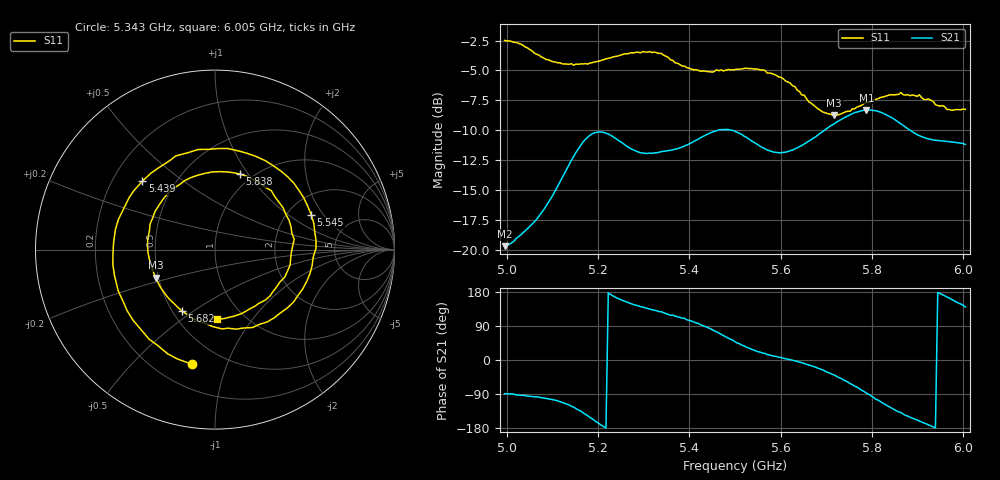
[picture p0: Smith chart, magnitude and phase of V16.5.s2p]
!File created by NanoVNA
# Hz S RI R 50
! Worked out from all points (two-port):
!   201 points, 4.995 GHz to 6.005 GHz, reference 50 ohm
!   highest |S21| = -8.30 dB at 5.788 GHz (marker M1); lowest = -19.7 dB at 4.995 GHz (marker M2)
!   |S21| within 3 dB of the highest: 5.39 GHz to 5.553 GHz (162.9 MHz wide, 2.98 % of centre); 5.645 GHz to end of sweep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
!   lowest |S11| = -8.7 dB at 5.717 GHz (marker M3), VSWR 2.15, Z = 24.2 - j8.75 ohm
!   |S11| at or under -10 dB: nowhere
!   S12 and S22 are empty: the file has one direction only
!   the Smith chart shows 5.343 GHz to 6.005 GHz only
!   S11 on the Smith chart (normalised r, x): 5.343 GHz: 0.34, -0.76; 5.439 GHz: 0.33, +0.36; 5.545 GHz: 2.67, +1.53; 5.682 GHz: 0.56, -0.45; 5.838 GHz: 0.87, +0.92; 6.005 GHz: 0.76, -0.69
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4.995e9  0.2111 -0.7202  0.00207 -0.1036  0 0  0 0
5.03035e9  -0.3075 -0.6559  -0.00653 -0.1152  0 0  0 0
5.0758e9  -0.635 -0.0803  -0.0237 -0.1408  0 0  0 0
5.1263e9  -0.3384 0.4934  -0.0855 -0.1906  0 0  0 0
5.1667e9  0.1174 0.5871  -0.2125 -0.1855  0 0  0 0
5.2172e9  0.5549 0.2959  -0.3073 -0.00151  0 0  0 0
5.2576e9  0.65 -0.1119  -0.2504 0.1157  0 0  0 0
5.298e9  0.4397 -0.5112  -0.1932 0.1644  0 0  0 0
5.33335e9  0.00849 -0.6621  -0.1563 0.2023  0 0  0 0
5.34345e9  -0.1304 -0.638  -0.1468 0.2121  0 0  0 0
5.39395e9  -0.5607 -0.1417  -0.077 0.263  0 0  0 0
5.4394e9  -0.4039 0.3821  0.0202 0.3036  0 0  0 0
5.5e9  0.2304 0.5183  0.2087 0.2331  0 0  0 0
5.54545e9  0.5357 0.1943  0.2541 0.1138  0 0  0 0
5.6212e9  0.2921 -0.4024  0.2597 0.00505  0 0  0 0
5.6717e9  -0.1196 -0.3853  0.2796 -0.0877  0 0  0 0
5.6818e9  -0.1831 -0.3428  0.2808 -0.1118  0 0  0 0
5.71715e9  -0.33 -0.1569  0.2602 -0.2128  0 0  0 0
5.78785e9  -0.2415 0.3355  0.0181 -0.3843  0 0  0 0
5.83835e9  0.1396 0.4213  -0.1988 -0.3015  0 0  0 0
5.904e9  0.4414 0.0575  -0.2842 -0.0974  0 0  0 0
6.005e9  0.0122 -0.3862  -0.2115 0.1771  0 0  0 0
